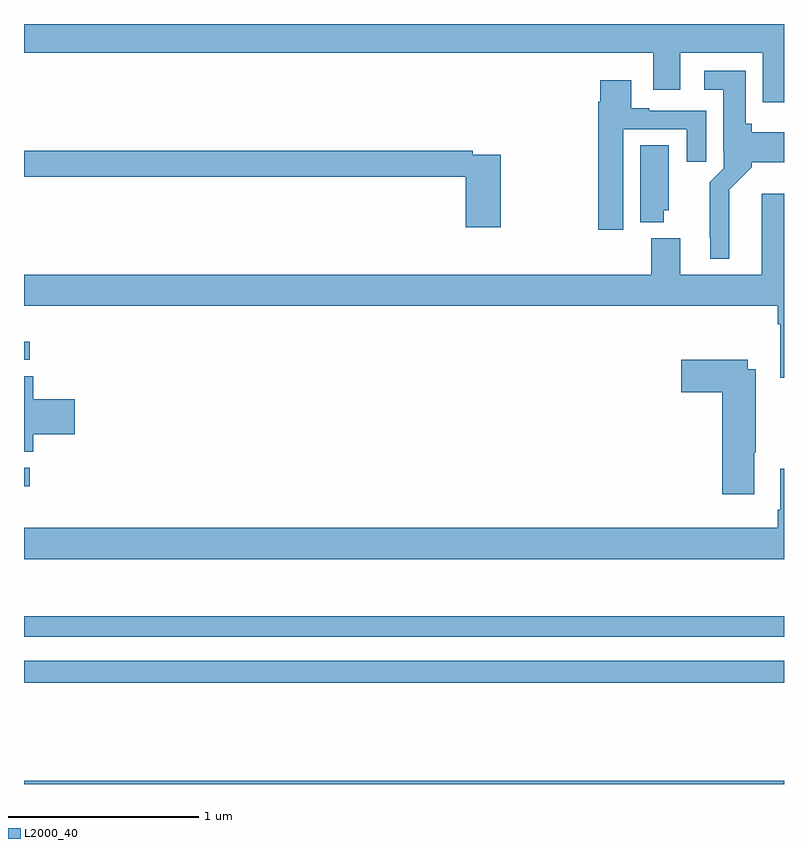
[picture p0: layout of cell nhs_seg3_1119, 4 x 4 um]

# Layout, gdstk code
import gdstk
lib = gdstk.Library(unit=1e-6, precision=1e-09)
def R(c, l, rs):  # rectangles x0, y0, x1, y1
    for r in rs: c.add(gdstk.rectangle(r[:2], r[2:], *l))
def P(c, l, *ps):  # polygons
    for p in ps: c.add(gdstk.Polygon(p, *l))
L2000_40 = (2000, 40)

nhs_seg3_1119 = lib.new_cell('nhs_seg3_1119')
R(nhs_seg3_1119, L2000_40, [(169,698.4,173,698.416), (169,698.932,173,699.048), (169,699.174,173,699.283), (169,699.967,169.03,700.065), (169,700.632,169.03,700.728)])
P(nhs_seg3_1119, L2000_40, [(173,702.4),(169,702.4),(169,702.248),(172.313,702.248),(172.313,702.054),(172.453,702.054),(172.453,702.248),(172.887,702.248),(172.887,701.988),(173,701.988)],
  [(172.711,701.528),(172.829,701.646),(172.829,701.672),(173,701.672),(173,701.83),(172.829,701.83),(172.829,701.874),(172.798,701.874),(172.798,702.154),(172.581,702.154),(172.581,702.053),(172.679,702.053),(172.679,701.734),(172.683,701.734),(172.683,701.64),(172.609,701.566),(172.609,701.275),(172.613,701.275),(172.613,701.165),(172.711,701.165)],
  [(172.153,701.847),(172.487,701.847),(172.487,701.676),(172.591,701.676),(172.591,701.943),(172.291,701.943),(172.291,701.956),(172.195,701.956),(172.195,702.103),(172.034,702.103),(172.034,701.99),(172.022,701.99),(172.022,701.316),(172.153,701.316)],
  [(172.366,701.421),(172.393,701.421),(172.393,701.762),(172.244,701.762),(172.244,701.357),(172.366,701.357)],
  [(171.509,701.712),(171.362,701.712),(171.362,701.732),(169,701.732),(169,701.596),(171.326,701.596),(171.326,701.331),(171.509,701.331)],
  [(173,701.506),(172.883,701.506),(172.883,701.08),(172.453,701.08),(172.453,701.272),(172.301,701.272),(172.301,701.08),(169,701.08),(169,700.916),(172.967,700.916),(172.967,700.82),(172.979,700.82),(172.979,700.539),(173,700.539)],
  [(172.843,700.147),(172.851,700.147),(172.851,700.582),(172.81,700.582),(172.81,700.633),(172.458,700.633),(172.458,700.463),(172.676,700.463),(172.676,699.924),(172.843,699.924)],
  [(169.049,700.241),(169.267,700.241),(169.267,700.424),(169.049,700.424),(169.049,700.547),(169,700.547),(169,700.15),(169.049,700.15)],
  [(173,700.06),(172.979,700.06),(172.979,699.844),(172.967,699.844),(172.967,699.748),(169,699.748),(169,699.584),(173,699.584)])

lib.write_gds('nhs_seg3_1119.gds')
